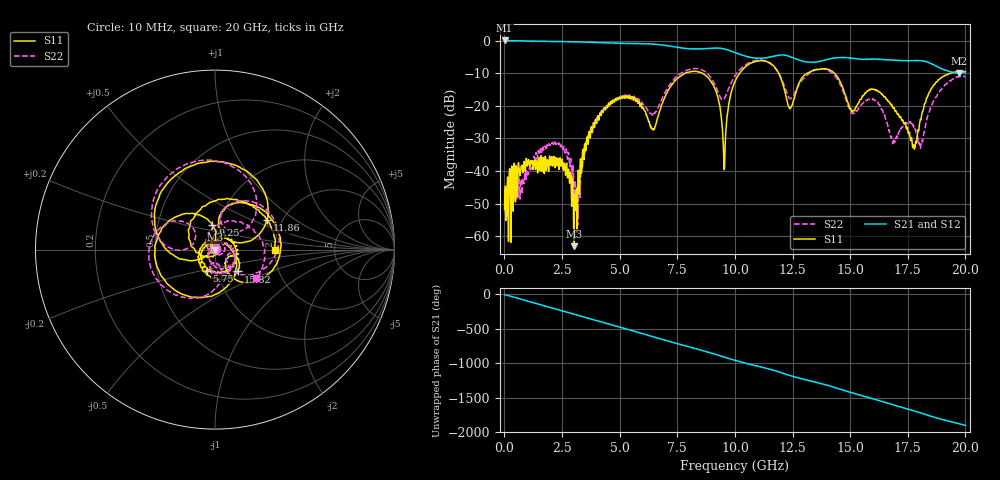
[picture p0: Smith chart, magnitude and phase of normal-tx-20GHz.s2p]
#  HZ  S  RI  R  50.00
! Rohde & Schwarz Vector Network Analyzer
! Rohde-Schwarz,ZNL20-2Port,1323001220101312,1.72.1.6-23.02.1.246
! Created: UTC 11/12/2024, 8:52:30 PM
! freq[Hz]  re:S11  im:S11  re:S21  im:S21  re:S12  im:S12  re:S22  im:S22
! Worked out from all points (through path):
!   2000 points, 10 MHz to 20 GHz, reference 50 ohm
!   highest |S21| = 0.03 dB at 10 MHz (marker M1); lowest = -10.0 dB at 19.74 GHz (marker M2)
!   group delay of S21, straight-line fit = 265 ps
!   lowest |S11| = -63.0 dB at 3.01 GHz (marker M3), VSWR 1.00, Z = 50.1 + j0.00978 ohm
!   |S11| at or under -10 dB: start of sweep to 7.851 GHz; 8.583 GHz to 10.21 GHz (1.622 GHz wide, 17.3 % of centre); 14.32 GHz to 19.38 GHz (5.067 GHz wide, 30.1 % of centre)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
!   |S22| runs from -56.6 to -6.0 dB; largest |S21 - S12| = 0.012
!   S11 on the Smith chart (normalised r, x): 10 MHz: 1.00, +0.00; 5.75 GHz: 0.89, -0.21; 9.25 GHz: 0.94, +0.27; 11.86 GHz: 1.66, +0.62; 15.82 GHz: 1.25, -0.31; 20 GHz: 2.00, -0.02
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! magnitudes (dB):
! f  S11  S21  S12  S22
! 10 MHz  -51.8  0.0  0.0  -47.1
! 2.11 GHz  -38.0  -0.3  -0.3  -31.5
! 3.01 GHz  -63.0  -0.4  -0.5  -42.8
! 3.35 GHz  -40.0  -0.5  -0.5  -36.5
! 4.23 GHz  -21.7  -0.6  -0.7  -21.6
! 5.75 GHz  -18.0  -0.9  -1.0  -17.6
! 6.68 GHz  -23.1  -1.2  -1.2  -20.4
! 7.92 GHz  -9.8  -2.5  -2.4  -9.1
! 9.25 GHz  -17.1  -2.3  -2.3  -15.4
! 9.54 GHz  -39.6  -2.6  -2.6  -17.8
! 10.01 GHz  -12.5  -3.7  -3.7  -10.7
! 11.86 GHz  -9.5  -4.5  -4.5  -9.6
! 12.4 GHz  -20.8  -4.9  -4.9  -17.8
! 13.34 GHz  -9.3  -6.6  -6.6  -9.5
! 15.1 GHz  -21.7  -5.4  -5.4  -22.4
! 15.82 GHz  -15.1  -5.7  -5.7  -18.0
! 16.67 GHz  -18.7  -5.9  -5.9  -27.3
! 17.79 GHz  -33.3  -6.2  -6.1  -26.9
! 18.08 GHz  -23.9  -6.2  -6.2  -31.8
! 18.53 GHz  -14.6  -7.1  -7.1  -19.9
! 19.74 GHz  -9.4  -10.0  -9.9  -10.9
! 20 GHz  -9.5  -9.8  -9.8  -11.1
